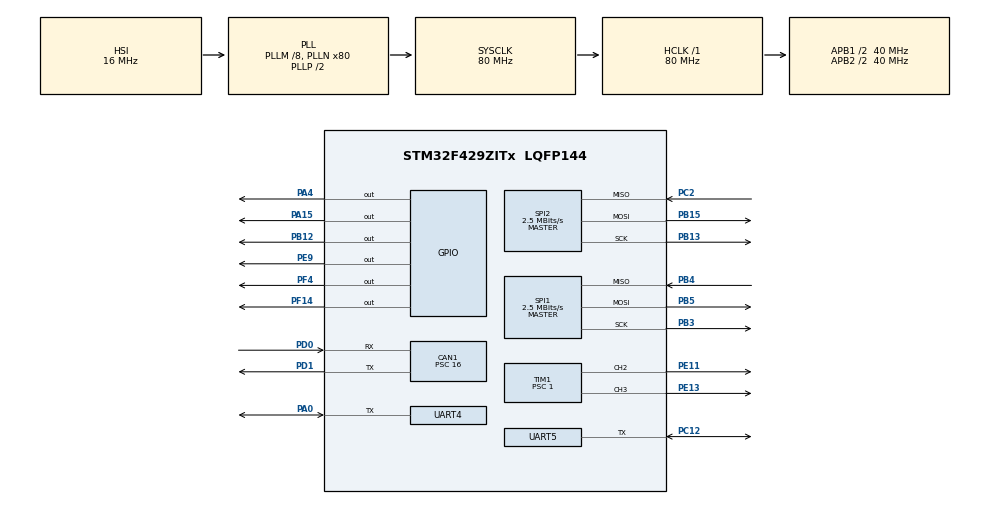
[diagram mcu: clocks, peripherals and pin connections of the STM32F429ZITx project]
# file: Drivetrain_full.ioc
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CAN1.BS1=CAN_BS1_2TQ
CAN1.BS2=CAN_BS2_2TQ
CAN1.CalculateBaudRate=500000
CAN1.CalculateTimeBit=2000.00
CAN1.CalculateTimeQuantum=400.0
CAN1.Prescaler=16
FREERTOS.Tasks01=StartEncoder,32,128,ReadEncoder,Default,NULL,Dynamic,NULL,NULL;StartStepper,24,128,ControlStepper,Default,NULL,Dynamic,NULL,NULL;startThrust,16,128,ControlThrust,Default,NULL,Dynamic,NULL,NULL
FREERTOS.configUSE_NEWLIB_REENTRANT=1
Mcu.Family=STM32F4
Mcu.Name=STM32F429ZITx
Mcu.Package=LQFP144
NVIC.CAN1_RX0_IRQn=true\:5\:0\:false\:false\:true\:true\:true\:true
NVIC.PriorityGroup=NVIC_PRIORITYGROUP_4
NVIC.TIM6_DAC_IRQn=true\:15\:0\:false\:false\:true\:false\:false\:true
NVIC.TimeBase=TIM6_DAC_IRQn
NVIC.TimeBaseIP=TIM6
PA0/WKUP.Mode=Half_duplex(single_wire_mode)
PA0/WKUP.Signal=UART4_TX
PA13.Mode=Serial_Wire
PA13.Signal=SYS_JTMS-SWDIO
PA14.Mode=Serial_Wire
PA14.Signal=SYS_JTCK-SWCLK
PA15.Signal=GPIO_Output
PA4.Signal=GPIO_Output
PB12.Signal=GPIO_Output
PB13.Mode=Full_Duplex_Master
PB13.Signal=SPI2_SCK
PB15.Mode=Full_Duplex_Master
PB15.Signal=SPI2_MOSI
PB3.Mode=Full_Duplex_Master
PB3.Signal=SPI1_SCK
PB4.Mode=Full_Duplex_Master
PB4.Signal=SPI1_MISO
PB5.Mode=Full_Duplex_Master
PB5.Signal=SPI1_MOSI
PC12.Mode=Half_duplex(single_wire_mode)
PC12.Signal=UART5_TX
PC2.Mode=Full_Duplex_Master
PC2.Signal=SPI2_MISO
PD0.Mode=CAN_Activate
PD0.Signal=CAN1_RX
PD1.Mode=CAN_Activate
PD1.Signal=CAN1_TX
PE11.Signal=S_TIM1_CH2
PE13.Signal=S_TIM1_CH3
PE9.Signal=GPIO_Output
PF14.Signal=GPIO_Output
PF4.Signal=GPIO_Output
PH0/OSC_IN.Mode=HSE-External-Oscillator
PH0/OSC_IN.Signal=RCC_OSC_IN
PH1/OSC_OUT.Mode=HSE-External-Oscillator
PH1/OSC_OUT.Signal=RCC_OSC_OUT
ProjectManager.HeapSize=0x200
ProjectManager.StackSize=0x400
ProjectManager.TargetToolchain=STM32CubeIDE
RCC.48MHZClocksFreq_Value=22857142.85714286
RCC.AHBFreq_Value=80000000
RCC.APB1CLKDivider=RCC_HCLK_DIV2
RCC.APB1Freq_Value=40000000
RCC.APB1TimFreq_Value=80000000
RCC.APB2CLKDivider=RCC_HCLK_DIV2
RCC.APB2Freq_Value=40000000
RCC.APB2TimFreq_Value=80000000
RCC.CortexFreq_Value=80000000
RCC.HCLKFreq_Value=80000000
RCC.HSE_VALUE=8000000
RCC.HSI_VALUE=16000000
RCC.LSE_VALUE=32768
RCC.PLLM=8
RCC.PLLMUL=RCC_PLL_MUL9
RCC.PLLN=80
RCC.PLLQ=7
RCC.PRESCALERUSB=RCC_USBCLKSOURCE_PLL_DIV1_5
RCC.SYSCLKFreq_VALUE=80000000
RCC.SYSCLKSource=RCC_SYSCLKSOURCE_PLLCLK
RCC.SYSCLKSourceVirtual=RCC_SYSCLKSOURCE_PLLCLK
RCC.USBFreq_Value=48000000
RCC.VCOOutputFreq_Value=160000000
SH.S_TIM1_CH2.0=TIM1_CH2,PWM Generation2 CH2
SH.S_TIM1_CH3.0=TIM1_CH3,PWM Generation3 CH3
SPI1.BaudRatePrescaler=SPI_BAUDRATEPRESCALER_16
SPI1.CLKPhase=SPI_PHASE_2EDGE
SPI1.CalculateBaudRate=2.5 MBits/s
SPI1.Direction=SPI_DIRECTION_2LINES
SPI1.Mode=SPI_MODE_MASTER
SPI1.VirtualType=VM_MASTER
SPI2.BaudRatePrescaler=SPI_BAUDRATEPRESCALER_16
SPI2.CLKPhase=SPI_PHASE_2EDGE
SPI2.CalculateBaudRate=2.5 MBits/s
SPI2.Direction=SPI_DIRECTION_2LINES
SPI2.Mode=SPI_MODE_MASTER
SPI2.VirtualType=VM_MASTER
TIM1.Channel-PWM\ Generation2\ CH2=TIM_CHANNEL_2
TIM1.Channel-PWM\ Generation3\ CH3=TIM_CHANNEL_3
TIM1.Prescaler=1
UART4.BaudRate=9600
UART4.VirtualMode=Asynchronous
UART5.BaudRate=9600
UART5.VirtualMode=Asynchronous
VP_FREERTOS_VS_CMSIS_V2.Mode=CMSIS_V2
VP_SYS_VS_tim6.Mode=TIM6
VP_TIM1_VS_ClockSourceINT.Mode=Internal
board=NUCLEO-F429ZI

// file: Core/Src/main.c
/* USER CODE BEGIN Header */
/**
  ******************************************************************************
  * @file           : main.c
  * @brief          : Main program body
  ******************************************************************************
  * @attention
  *
  * <h2><center>&copy; Copyright (c) 2021 STMicroelectronics.
  * All rights reserved.</center></h2>
  *
  * This software component is licensed by ST under Ultimate Liberty license
  * SLA0044, the "License"; You may not use this file except in compliance with
  * the License. You may obtain a copy of the License at:
  *                             www.st.com/SLA0044
  *
  ******************************************************************************
  */
/* USER CODE END Header */

//Remote controller
#include "main.h"
#include "cmsis_os.h"

/* USER CODE BEGIN Includes */
#include <stdio.h>
#include <math.h>
#include <stdlib.h>
/* USER CODE END Includes */

CAN_HandleTypeDef hcan1;

SPI_HandleTypeDef hspi1;
SPI_HandleTypeDef hspi2;

TIM_HandleTypeDef htim1;

UART_HandleTypeDef huart4;
UART_HandleTypeDef huart5;

/* Definitions for StartEncoder */
osThreadId_t StartEncoderHandle;
const osThreadAttr_t StartEncoder_attributes = {
  .name = "StartEncoder",
  .stack_size = 128 * 4,
  .priority = (osPriority_t) osPriorityAboveNormal,
};
/* Definitions for StartStepper */
osThreadId_t StartStepperHandle;
const osThreadAttr_t StartStepper_attributes = {
  .name = "StartStepper",
  .stack_size = 128 * 4,
  .priority = (osPriority_t) osPriorityNormal,
};
/* Definitions for startThrust */
osThreadId_t startThrustHandle;
const osThreadAttr_t startThrust_attributes = {
  .name = "startThrust",
  .stack_size = 128 * 4,
  .priority = (osPriority_t) osPriorityBelowNormal,
};

void SystemClock_Config(void);
static void MX_GPIO_Init(void);
static void MX_SPI1_Init(void);
static void MX_TIM1_Init(void);
static void MX_CAN1_Init(void);
static void MX_SPI2_Init(void);
static void MX_UART4_Init(void);
static void MX_UART5_Init(void);
void ReadEncoder(void *argument);
void ControlStepper(void *argument);
void ControlThrust(void *argument);

/* USER CODE BEGIN 0 */
int MANUAL = 0;
int16_t MANUAL_ANGLE_REF = 0;
uint8_t MANUAL_THRUST_REF[1] = {128};

//SPI Transmit and Receive buffers
uint8_t SPI_tx1[2] = {0xFF, 0xFF}; //0xFFFF is a read angle command for the AS5048A magnetic encoder
uint8_t SPI_rx1[2];

uint8_t SPI_tx2[2] = {0xFF, 0xFF}; //0xFFFF is a read angle command for the AS5048A magnetic encoder
uint8_t SPI_rx2[2];

//CAN headers
CAN_TxHeaderTypeDef TxHeader;
CAN_RxHeaderTypeDef RxHeader;

//CAN Transmit and Receive buffers
uint8_t CAN_tx[8];
uint8_t CAN_rx[8];

uint32_t TxMailbox;

//ENCODER 1 VARAIBLES
uint16_t INITIAL_ANGLE_1 = 15092; //15092 raw value
static uint16_t ENCODER_ANGLE_1 = 0;
static float ANGLE_REF_1 = 0;
static int16_t ANGLE_ERROR_1;
float ANGLE_DEGREE_1;

//ENCODER 2 VARIABLES
uint16_t INITIAL_ANGLE_2 = 14706; //14706 raw value
static uint16_t ENCODER_ANGLE_2 = 0;
static float ANGLE_REF_2 = 0;
static int16_t ANGLE_ERROR_2;
float ANGLE_DEGREE_2;

float VOLTAGE_1 = 0;
float VOLTAGE_2 = 0;
float MAX_VOLTAGE = 11.1;

//THRUST UART 1 (left)
static float THRUST_1_REF;
uint8_t  THRUST_1[1] = {128};
//THRUST UART 2 (right)
static float THRUST_2_REF;
uint8_t  THRUST_2[1] = {128};

int8_t THRUST_1_CAN[4] = {0, 0, 0, 0};
int8_t THRUST_2_CAN[4] = {0, 0, 0, 0};
int8_t ANGLE_REF_1_CAN[4] = {0, 0, 0, 0};
int8_t ANGLE_REF_2_CAN[4] = {0, 0, 0, 0};

const float ConvertToDegree = 360.0/16383;

//Used for filtering out bit 14 & 15
uint16_t clearbits = 0x3FFF;

uint16_t PWM_FREQ;
uint16_t PWM_PERIOD = 64000;
uint16_t PWM_DUTY_CYCLE;

int thread1 = 0;
int thread2 = 0;
int thread3 = 0;
int status = 0;

/* USER CODE END 0 */

int main(void)
{

  /* MCU Configuration--------------------------------------------------------*/

  /* Reset of all peripherals, Initializes the Flash interface and the Systick. */
  HAL_Init();

  /* Configure the system clock */
  SystemClock_Config();

  /* Initialize all configured peripherals */
  MX_GPIO_Init();
  MX_SPI1_Init();
  MX_TIM1_Init();
  MX_CAN1_Init();
  MX_SPI2_Init();
  MX_UART4_Init();
  MX_UART5_Init();
  /* USER CODE BEGIN 2 */
  HAL_TIM_PWM_Start(&htim1, TIM_CHANNEL_2);
  HAL_TIM_PWM_Start(&htim1, TIM_CHANNEL_3);

  HAL_CAN_Start(&hcan1);
  HAL_CAN_ActivateNotification(&hcan1, CAN_IT_RX_FIFO0_MSG_PENDING);

  HAL_Delay(10);

  // INITIALIZE PIN STATE AS HIGH FOR ENCODER 1
  HAL_GPIO_WritePin(GPIOA, GPIO_PIN_4, GPIO_PIN_SET);
  HAL_Delay(10);

  // INITIALIZE PIN STATE AS HIGH FOR ENCODER 2
  HAL_GPIO_WritePin(GPIOB, GPIO_PIN_14, GPIO_PIN_SET);
  HAL_Delay(10);

  // READ INITAL ANGLE OFFSET ENCODER 1
 /* HAL_GPIO_WritePin(GPIOA, GPIO_PIN_4, GPIO_PIN_RESET);
  HAL_SPI_Transmit(&hspi1, &SPI_tx1[0], 2, 1);
  HAL_GPIO_WritePin(GPIOA, GPIO_PIN_4, GPIO_PIN_SET);
  HAL_Delay(10);
  HAL_GPIO_WritePin(GPIOA, GPIO_PIN_4, GPIO_PIN_RESET);
  HAL_SPI_Receive(&hspi1, &SPI_rx1[0], 2, 1);
  HAL_GPIO_WritePin(GPIOA, GPIO_PIN_4, GPIO_PIN_SET);
  INITIAL_ANGLE_1 = (SPI_rx1[0] << 8 | SPI_rx1[1])&clearbits;
  HAL_Delay(10);

  // READ INITAL ANGLE OFFSET ENCODER 2
  HAL_GPIO_WritePin(GPIOB, GPIO_PIN_12, GPIO_PIN_RESET);
  HAL_SPI_Transmit(&hspi2, &SPI_tx2[0], 2, 1);
  HAL_GPIO_WritePin(GPIOB, GPIO_PIN_12, GPIO_PIN_SET);
  HAL_Delay(10);
  HAL_GPIO_WritePin(GPIOB, GPIO_PIN_12, GPIO_PIN_RESET);
  HAL_SPI_Receive(&hspi2, &SPI_rx2[0], 2, 1);
  HAL_GPIO_WritePin(GPIOB, GPIO_PIN_12, GPIO_PIN_SET);
  INITIAL_ANGLE_2 = (SPI_rx2[0] << 8 | SPI_rx2[1])&clearbits;
*/
  /* USER CODE END 2 */

  /* Init scheduler */
  osKernelInitialize();

  /* Create the thread(s) */
  /* creation of StartEncoder */
  StartEncoderHandle = osThreadNew(ReadEncoder, NULL, &StartEncoder_attributes);

  /* creation of StartStepper */
  StartStepperHandle = osThreadNew(ControlStepper, NULL, &StartStepper_attributes);

  /* creation of startThrust */
  startThrustHandle = osThreadNew(ControlThrust, NULL, &startThrust_attributes);

  /* Start scheduler */
  osKernelStart();

  /* We should never get here as control is now taken by the scheduler */
  /* Infinite loop */
  while (1)
  {

  }
}

void SystemClock_Config(void)
{
  RCC_OscInitTypeDef RCC_OscInitStruct = {0};
  RCC_ClkInitTypeDef RCC_ClkInitStruct = {0};

  /** Configure the main internal regulator output voltage
  */
  __HAL_RCC_PWR_CLK_ENABLE();
  __HAL_PWR_VOLTAGESCALING_CONFIG(PWR_REGULATOR_VOLTAGE_SCALE3);
  /** Initializes the RCC Oscillators according to the specified parameters
  * in the RCC_OscInitTypeDef structure.
  */
  RCC_OscInitStruct.OscillatorType = RCC_OSCILLATORTYPE_HSI;
  RCC_OscInitStruct.HSIState = RCC_HSI_ON;
  RCC_OscInitStruct.HSICalibrationValue = RCC_HSICALIBRATION_DEFAULT;
  RCC_OscInitStruct.PLL.PLLState = RCC_PLL_ON;
  RCC_OscInitStruct.PLL.PLLSource = RCC_PLLSOURCE_HSI;
  RCC_OscInitStruct.PLL.PLLM = 8;
  RCC_OscInitStruct.PLL.PLLN = 80;
  RCC_OscInitStruct.PLL.PLLP = RCC_PLLP_DIV2;
  RCC_OscInitStruct.PLL.PLLQ = 7;
  if (HAL_RCC_OscConfig(&RCC_OscInitStruct) != HAL_OK)
  {
    Error_Handler();
  }
  /** Initializes the CPU, AHB and APB buses clocks
  */
  RCC_ClkInitStruct.ClockType = RCC_CLOCKTYPE_HCLK|RCC_CLOCKTYPE_SYSCLK
                              |RCC_CLOCKTYPE_PCLK1|RCC_CLOCKTYPE_PCLK2;
  RCC_ClkInitStruct.SYSCLKSource = RCC_SYSCLKSOURCE_PLLCLK;
  RCC_ClkInitStruct.AHBCLKDivider = RCC_SYSCLK_DIV1;
  RCC_ClkInitStruct.APB1CLKDivider = RCC_HCLK_DIV2;
  RCC_ClkInitStruct.APB2CLKDivider = RCC_HCLK_DIV2;

  if (HAL_RCC_ClockConfig(&RCC_ClkInitStruct, FLASH_LATENCY_2) != HAL_OK)
  {
    Error_Handler();
  }
}

static void MX_CAN1_Init(void)
{

  hcan1.Instance = CAN1;
  hcan1.Init.Prescaler = 16;
  hcan1.Init.Mode = CAN_MODE_NORMAL;
  hcan1.Init.SyncJumpWidth = CAN_SJW_1TQ;
  hcan1.Init.TimeSeg1 = CAN_BS1_2TQ;
  hcan1.Init.TimeSeg2 = CAN_BS2_2TQ;
  hcan1.Init.TimeTriggeredMode = DISABLE;
  hcan1.Init.AutoBusOff = DISABLE;
  hcan1.Init.AutoWakeUp = DISABLE;
  hcan1.Init.AutoRetransmission = DISABLE;
  hcan1.Init.ReceiveFifoLocked = DISABLE;
  hcan1.Init.TransmitFifoPriority = DISABLE;
  if (HAL_CAN_Init(&hcan1) != HAL_OK)
  {
    Error_Handler();
  }
  /* USER CODE BEGIN CAN1_Init 2 */
  //CAN FILTER CONFIGURATION
  CAN_FilterTypeDef canfilterconfig;
  canfilterconfig.FilterActivation = CAN_FILTER_ENABLE;
  canfilterconfig.FilterBank = 0;
  canfilterconfig.FilterFIFOAssignment = CAN_FILTER_FIFO0;
  canfilterconfig.FilterIdHigh = 0x5<<5;
  canfilterconfig.FilterIdLow = 0;
  canfilterconfig.FilterMaskIdHigh = 0x0<<5;
  canfilterconfig.FilterMaskIdLow = 0x0000;
  canfilterconfig.FilterMode = CAN_FILTERMODE_IDMASK;
  canfilterconfig.FilterScale = CAN_FILTERSCALE_32BIT;
  canfilterconfig.SlaveStartFilterBank = 20;

  HAL_CAN_ConfigFilter(&hcan1, &canfilterconfig);

  /* USER CODE END CAN1_Init 2 */

}

static void MX_SPI1_Init(void)
{

  /* SPI1 parameter configuration*/
  hspi1.Instance = SPI1;
  hspi1.Init.Mode = SPI_MODE_MASTER;
  hspi1.Init.Direction = SPI_DIRECTION_2LINES;
  hspi1.Init.DataSize = SPI_DATASIZE_8BIT;
  hspi1.Init.CLKPolarity = SPI_POLARITY_LOW;
  hspi1.Init.CLKPhase = SPI_PHASE_2EDGE;
  hspi1.Init.NSS = SPI_NSS_SOFT;
  hspi1.Init.BaudRatePrescaler = SPI_BAUDRATEPRESCALER_16;
  hspi1.Init.FirstBit = SPI_FIRSTBIT_MSB;
  hspi1.Init.TIMode = SPI_TIMODE_DISABLE;
  hspi1.Init.CRCCalculation = SPI_CRCCALCULATION_DISABLE;
  hspi1.Init.CRCPolynomial = 10;
  if (HAL_SPI_Init(&hspi1) != HAL_OK)
  {
    Error_Handler();
  }

}

static void MX_SPI2_Init(void)
{

  /* SPI2 parameter configuration*/
  hspi2.Instance = SPI2;
  hspi2.Init.Mode = SPI_MODE_MASTER;
  hspi2.Init.Direction = SPI_DIRECTION_2LINES;
  hspi2.Init.DataSize = SPI_DATASIZE_8BIT;
  hspi2.Init.CLKPolarity = SPI_POLARITY_LOW;
  hspi2.Init.CLKPhase = SPI_PHASE_2EDGE;
  hspi2.Init.NSS = SPI_NSS_SOFT;
  hspi2.Init.BaudRatePrescaler = SPI_BAUDRATEPRESCALER_16;
  hspi2.Init.FirstBit = SPI_FIRSTBIT_MSB;
  hspi2.Init.TIMode = SPI_TIMODE_DISABLE;
  hspi2.Init.CRCCalculation = SPI_CRCCALCULATION_DISABLE;
  hspi2.Init.CRCPolynomial = 10;
  if (HAL_SPI_Init(&hspi2) != HAL_OK)
  {
    Error_Handler();
  }

}

static void MX_TIM1_Init(void)
{

  TIM_ClockConfigTypeDef sClockSourceConfig = {0};
  TIM_MasterConfigTypeDef sMasterConfig = {0};
  TIM_OC_InitTypeDef sConfigOC = {0};
  TIM_BreakDeadTimeConfigTypeDef sBreakDeadTimeConfig = {0};

  htim1.Instance = TIM1;
  htim1.Init.Prescaler = 1;
  htim1.Init.CounterMode = TIM_COUNTERMODE_UP;
  htim1.Init.Period = 65535;
  htim1.Init.ClockDivision = TIM_CLOCKDIVISION_DIV1;
  htim1.Init.RepetitionCounter = 0;
  htim1.Init.AutoReloadPreload = TIM_AUTORELOAD_PRELOAD_DISABLE;
  if (HAL_TIM_Base_Init(&htim1) != HAL_OK)
  {
    Error_Handler();
  }
  sClockSourceConfig.ClockSource = TIM_CLOCKSOURCE_INTERNAL;
  if (HAL_TIM_ConfigClockSource(&htim1, &sClockSourceConfig) != HAL_OK)
  {
    Error_Handler();
  }
  if (HAL_TIM_PWM_Init(&htim1) != HAL_OK)
  {
    Error_Handler();
  }
  sMasterConfig.MasterOutputTrigger = TIM_TRGO_RESET;
  sMasterConfig.MasterSlaveMode = TIM_MASTERSLAVEMODE_DISABLE;
  if (HAL_TIMEx_MasterConfigSynchronization(&htim1, &sMasterConfig) != HAL_OK)
  {
    Error_Handler();
  }
  sConfigOC.OCMode = TIM_OCMODE_PWM1;
  sConfigOC.Pulse = 0;
  sConfigOC.OCPolarity = TIM_OCPOLARITY_HIGH;
  sConfigOC.OCNPolarity = TIM_OCNPOLARITY_HIGH;
  sConfigOC.OCFastMode = TIM_OCFAST_DISABLE;
  sConfigOC.OCIdleState = TIM_OCIDLESTATE_RESET;
  sConfigOC.OCNIdleState = TIM_OCNIDLESTATE_RESET;
  if (HAL_TIM_PWM_ConfigChannel(&htim1, &sConfigOC, TIM_CHANNEL_2) != HAL_OK)
  {
    Error_Handler();
  }
  if (HAL_TIM_PWM_ConfigChannel(&htim1, &sConfigOC, TIM_CHANNEL_3) != HAL_OK)
  {
    Error_Handler();
  }
  sBreakDeadTimeConfig.OffStateRunMode = TIM_OSSR_DISABLE;
  sBreakDeadTimeConfig.OffStateIDLEMode = TIM_OSSI_DISABLE;
  sBreakDeadTimeConfig.LockLevel = TIM_LOCKLEVEL_OFF;
  sBreakDeadTimeConfig.DeadTime = 0;
  sBreakDeadTimeConfig.BreakState = TIM_BREAK_DISABLE;
  sBreakDeadTimeConfig.BreakPolarity = TIM_BREAKPOLARITY_HIGH;
  sBreakDeadTimeConfig.AutomaticOutput = TIM_AUTOMATICOUTPUT_DISABLE;
  if (HAL_TIMEx_ConfigBreakDeadTime(&htim1, &sBreakDeadTimeConfig) != HAL_OK)
  {
    Error_Handler();
  }
  HAL_TIM_MspPostInit(&htim1);

}

static void MX_UART4_Init(void)
{

  huart4.Instance = UART4;
  huart4.Init.BaudRate = 9600;
  huart4.Init.WordLength = UART_WORDLENGTH_8B;
  huart4.Init.StopBits = UART_STOPBITS_1;
  huart4.Init.Parity = UART_PARITY_NONE;
  huart4.Init.Mode = UART_MODE_TX_RX;
  huart4.Init.HwFlowCtl = UART_HWCONTROL_NONE;
  huart4.Init.OverSampling = UART_OVERSAMPLING_16;
  if (HAL_HalfDuplex_Init(&huart4) != HAL_OK)
  {
    Error_Handler();
  }

}

static void MX_UART5_Init(void)
{

  huart5.Instance = UART5;
  huart5.Init.BaudRate = 9600;
  huart5.Init.WordLength = UART_WORDLENGTH_8B;
  huart5.Init.StopBits = UART_STOPBITS_1;
  huart5.Init.Parity = UART_PARITY_NONE;
  huart5.Init.Mode = UART_MODE_TX_RX;
  huart5.Init.HwFlowCtl = UART_HWCONTROL_NONE;
  huart5.Init.OverSampling = UART_OVERSAMPLING_16;
  if (HAL_HalfDuplex_Init(&huart5) != HAL_OK)
  {
    Error_Handler();
  }

}

static void MX_GPIO_Init(void)
{
  GPIO_InitTypeDef GPIO_InitStruct = {0};

  /* GPIO Ports Clock Enable */
  __HAL_RCC_GPIOF_CLK_ENABLE();
  __HAL_RCC_GPIOH_CLK_ENABLE();
  __HAL_RCC_GPIOC_CLK_ENABLE();
  __HAL_RCC_GPIOA_CLK_ENABLE();
  __HAL_RCC_GPIOE_CLK_ENABLE();
  __HAL_RCC_GPIOB_CLK_ENABLE();
  __HAL_RCC_GPIOD_CLK_ENABLE();

  /*Configure GPIO pin Output Level */
  HAL_GPIO_WritePin(GPIOF, GPIO_PIN_4|GPIO_PIN_14, GPIO_PIN_RESET);

  /*Configure GPIO pin Output Level */
  HAL_GPIO_WritePin(GPIOA, GPIO_PIN_4|GPIO_PIN_15, GPIO_PIN_RESET);

  /*Configure GPIO pin Output Level */
  HAL_GPIO_WritePin(GPIOE, GPIO_PIN_9, GPIO_PIN_RESET);

  /*Configure GPIO pin Output Level */
  HAL_GPIO_WritePin(GPIOB, GPIO_PIN_12, GPIO_PIN_RESET);

  /*Configure GPIO pins : PF4 PF14 */
  GPIO_InitStruct.Pin = GPIO_PIN_4|GPIO_PIN_14;
  GPIO_InitStruct.Mode = GPIO_MODE_OUTPUT_PP;
  GPIO_InitStruct.Pull = GPIO_NOPULL;
  GPIO_InitStruct.Speed = GPIO_SPEED_FREQ_LOW;
  HAL_GPIO_Init(GPIOF, &GPIO_InitStruct);

  /*Configure GPIO pins : PA4 PA15 */
  GPIO_InitStruct.Pin = GPIO_PIN_4|GPIO_PIN_15;
  GPIO_InitStruct.Mode = GPIO_MODE_OUTPUT_PP;
  GPIO_InitStruct.Pull = GPIO_NOPULL;
  GPIO_InitStruct.Speed = GPIO_SPEED_FREQ_LOW;
  HAL_GPIO_Init(GPIOA, &GPIO_InitStruct);

  /*Configure GPIO pin : PE9 */
  GPIO_InitStruct.Pin = GPIO_PIN_9;
  GPIO_InitStruct.Mode = GPIO_MODE_OUTPUT_PP;
  GPIO_InitStruct.Pull = GPIO_NOPULL;
  GPIO_InitStruct.Speed = GPIO_SPEED_FREQ_LOW;
  HAL_GPIO_Init(GPIOE, &GPIO_InitStruct);

  /*Configure GPIO pin : PB12 */
  GPIO_InitStruct.Pin = GPIO_PIN_12;
  GPIO_InitStruct.Mode = GPIO_MODE_OUTPUT_PP;
  GPIO_InitStruct.Pull = GPIO_NOPULL;
  GPIO_InitStruct.Speed = GPIO_SPEED_FREQ_LOW;
  HAL_GPIO_Init(GPIOB, &GPIO_InitStruct);

}

/* USER CODE BEGIN 4 */

/* CAN RX0 CALLBACK FUNCTION */

void HAL_CAN_RxFifo0MsgPendingCallback(CAN_HandleTypeDef *hcan){
	HAL_CAN_GetRxMessage(hcan, CAN_RX_FIFO0, &RxHeader, CAN_rx);
	if(RxHeader.DLC == 8){
		if(RxHeader.StdId == 0x01){
			THRUST_1_CAN[0] = CAN_rx[0];
			THRUST_1_CAN[1] = CAN_rx[1];
			THRUST_1_CAN[2] = CAN_rx[2];
			THRUST_1_CAN[3] = CAN_rx[3];	//need to change the correct bits for each motor thrust

			//combining bytes into float (Left motor thrust)
			THRUST_1_REF = *(float*)&THRUST_1_CAN; // max = 160, min = -40 N

			THRUST_2_CAN[0] = CAN_rx[4];
			THRUST_2_CAN[1] = CAN_rx[5];
			THRUST_2_CAN[2] = CAN_rx[6];
			THRUST_2_CAN[3] = CAN_rx[7];

			//combining bytes into float (Left motor thrust)
			THRUST_2_REF = *(float*)&THRUST_2_CAN; // max = 160, min = -40 N
			thread3=0;

		}
		else if(RxHeader.StdId == 0x02){
			ANGLE_REF_1_CAN[0] = CAN_rx[0];
			ANGLE_REF_1_CAN[1] = CAN_rx[1];
			ANGLE_REF_1_CAN[2] = CAN_rx[2];
			ANGLE_REF_1_CAN[3] = CAN_rx[3];

			ANGLE_REF_1 = (*(float*)&ANGLE_REF_1_CAN)*2; // max = 30, min = -30 degree --> +/- 60 degree (stepper gear ratio)

			ANGLE_REF_2_CAN[0] = CAN_rx[4];
			ANGLE_REF_2_CAN[1] = CAN_rx[5];
			ANGLE_REF_2_CAN[2] = CAN_rx[6];
			ANGLE_REF_2_CAN[3] = CAN_rx[7];

			ANGLE_REF_2 = (*(float*)&ANGLE_REF_2_CAN)*2; // max = 30, min = -30 degree --> +/- 60 degree (stepper gear ratio)

		}
		else{
			printf("Wrong message ID, motor thrust and angle unchanged");
		}

	}
}

/* USER CODE END 4 */

void ReadEncoder(void *argument)
{
  /* USER CODE BEGIN 5 */
  /* Infinite loop */
  for(;;)
  {
	  	  	  	  	  /************************
	  	  	  	  	   * ---- ENCODER 1 ----- *
	  	  	  	  	   ************************/

	// READ ENCODER 1
	HAL_GPIO_WritePin(GPIOA, GPIO_PIN_4, GPIO_PIN_RESET); //PULL CSn LOW
	HAL_SPI_Transmit(&hspi1, &SPI_tx1[0], 2, 1); //TRANSMIT READ COMMAND(0xFFFF)
	HAL_GPIO_WritePin(GPIOA, GPIO_PIN_4, GPIO_PIN_SET); //PULL CSn HIGH
	HAL_Delay(1);
	HAL_GPIO_WritePin(GPIOA, GPIO_PIN_4, GPIO_PIN_RESET); //PULL CSn LOW
	HAL_SPI_Receive(&hspi1, &SPI_rx1[0], 2, 1); //RECEIVE ANGLE READING
	HAL_GPIO_WritePin(GPIOA, GPIO_PIN_4, GPIO_PIN_SET); //PULL CSn HIGH

	//CLEAR NON-DATA BITS ENCODER 1
	ENCODER_ANGLE_1 = (SPI_rx1[0] << 8 | SPI_rx1[1])&clearbits; //FILTER OUT BIT 14&15
	ENCODER_ANGLE_1 = (ENCODER_ANGLE_1 - INITIAL_ANGLE_1)&clearbits; //REMOVE INITIAL ANGLE OFFSET

	//RECOMPUTE ANGLE FROM 14-BIT DATA TO -180 TO 180 DEGREE ANGLE FOR ENCODER 1
	ANGLE_DEGREE_1 = ENCODER_ANGLE_1*ConvertToDegree; //CONVERTS 14-bit number to 360 degree
	if(ANGLE_DEGREE_1 > 180){
			ANGLE_DEGREE_1 = ANGLE_DEGREE_1 - 360;
	}
			//TODO:REMOVE COMMENTS
			ANGLE_ERROR_1 = ANGLE_REF_1 - ANGLE_DEGREE_1; //CALCULATE ANGLE ERROR

		 	 	   	   /************************
		 	 	   	    * ---- ENCODER 2 ----- *
		 	 	   	    ************************/

	//READ ENCODER 2
	HAL_GPIO_WritePin(GPIOB, GPIO_PIN_12, GPIO_PIN_RESET); //PULL CSn LOW
	HAL_SPI_Transmit(&hspi2, &SPI_tx2[0], 2, 1); //TRANSMIT READ COMMAND(0xFF)
	HAL_GPIO_WritePin(GPIOB, GPIO_PIN_12, GPIO_PIN_SET); //PULL CSn HIGH
	HAL_Delay(1);
	HAL_GPIO_WritePin(GPIOB, GPIO_PIN_12, GPIO_PIN_RESET); //PULL CSn LOW
	HAL_SPI_Receive(&hspi2, &SPI_rx2[0], 2, 1); //RECEIVE ANGLE READING
	HAL_GPIO_WritePin(GPIOB, GPIO_PIN_12, GPIO_PIN_SET); //PULL CSn HIGH

	//CLEAR NON-DATA BITS ENCODER 2
	ENCODER_ANGLE_2 = (SPI_rx2[0] << 8 | SPI_rx2[1])&clearbits; //FILTER OUT BIT 14&15
	ENCODER_ANGLE_2 = (ENCODER_ANGLE_2 - INITIAL_ANGLE_2)&clearbits; //REMOVE INITIAL ANGLE OFFSET

	//RECOMPUTE ANGLE FROM 14-BIT DATA TO -180 TO 180 DEGREE ANGLE FOR ENCODER 2
	ANGLE_DEGREE_2 = ENCODER_ANGLE_2*ConvertToDegree; //CONVERTS 14-bit number to 360 degree
	if(ANGLE_DEGREE_2 > 180){
			ANGLE_DEGREE_2 = ANGLE_DEGREE_2 - 360;
	}
			//TODO: REMOVE COMMENTS
			ANGLE_ERROR_2 = ANGLE_REF_2 - ANGLE_DEGREE_2; //CALCULATE ANGLE ERROR

	thread1++;
    osThreadFlagsWait(0x01,osFlagsWaitAny, osWaitForever); // START ControlStepper thread

  }
  /* USER CODE END 5 */
}

void ControlStepper(void *argument)
{
  /* USER CODE BEGIN ControlStepper */
  /* Infinite loop */
  for(;;)
  {
	osDelay(1U);
	if(MANUAL == 1){
		ANGLE_ERROR_1 = MANUAL_ANGLE_REF - ANGLE_DEGREE_1;
		ANGLE_ERROR_2 = MANUAL_ANGLE_REF - ANGLE_DEGREE_2;
	}else{
	  	  	  	  	  /************************
	 	  	  	  	   * ---- STEPPER 1 ----- *
	 	  	  	  	   ************************/
	//saturation of reference angles to their maximum/minimum
	if (ANGLE_REF_1>60){ANGLE_REF_1=60;}
	else if(ANGLE_REF_1<-60){ANGLE_REF_1=-60;}
	if (ANGLE_REF_2>60){ANGLE_REF_2=60;}
	else if(ANGLE_REF_2<-60){ANGLE_REF_2=-60;}
	}
	//CHANGE DIRECTION FOR STEPPER 1 DEPENDING ON ERROR SIGN
	if (ANGLE_ERROR_1 > 0){
		HAL_GPIO_WritePin(GPIOF, GPIO_PIN_14, GPIO_PIN_RESET);
	}
	else{
		HAL_GPIO_WritePin(GPIOF, GPIO_PIN_14, GPIO_PIN_SET);
	}

	ANGLE_ERROR_1 = abs(ANGLE_ERROR_1);
	//UPDATE CCR REGISTER FOR STEPPER 1
	if(ANGLE_ERROR_1 > 0.9){
		TIM1->ARR  = PWM_PERIOD;
		TIM1->CCR3 = PWM_PERIOD/2;
	}
	else{
		TIM1->ARR = PWM_PERIOD;
		TIM1->CCR3 = PWM_PERIOD;

	}
	  	  	  	  	  	  /************************
			  	  	  	   * ---- STEPPER 2 ----- *
			  	  	  	   ************************/

	//CHANGE DIRECTION FOR STEPPER 1 DEPENDING ON ERROR SIGN

	if (ANGLE_ERROR_2 > 0){
		HAL_GPIO_WritePin(GPIOE, GPIO_PIN_9, GPIO_PIN_RESET);
		}
		else{
		HAL_GPIO_WritePin(GPIOE, GPIO_PIN_9, GPIO_PIN_SET);
		}
	//UPDATE CCR REGISTER FOR STEPPER 1
	ANGLE_ERROR_2 = abs(ANGLE_ERROR_2);
	if(ANGLE_ERROR_2 > 0.9){
		TIM1->ARR  = PWM_PERIOD;
		TIM1->CCR2 = PWM_PERIOD/2;
		}
		else{
			TIM1->ARR = PWM_PERIOD;
			TIM1->CCR2 = PWM_PERIOD;
		}

	if( (ANGLE_ERROR_1 <= 2) && (ANGLE_ERROR_2 <= 2) ){
		osThreadFlagsSet(startThrustHandle, 0x03); //FLAG THRUST THREAD
		osThreadFlagsWait(0x02, osFlagsWaitAny, osWaitForever); //START THRUST THREAD
	}

	//START ENCODER THREAD
	thread2++;
	osThreadFlagsSet(StartEncoderHandle, 0x01);

  }
  /* USER CODE END ControlStepper */
}

void ControlThrust(void *argument)
{
  /* USER CODE BEGIN ControlThrust */
HAL_UART_Transmit(&huart4, THRUST_1, sizeof(THRUST_1), 2); //THRUST 1 (left)
HAL_UART_Transmit(&huart5, THRUST_2, sizeof(THRUST_2), 2); //THRUST 2 (right)
  /* Infinite loop */
  for(;;)
  {
	//TIM3 ARR = 65535

	osThreadFlagsWait(0x03,osFlagsWaitAny, osWaitForever); // STOP THREAD

						   /************************
			  	  	  	    * ---- THRUST 1 ----- *
			  	  	  	    ************************/
	if(MANUAL == 1){
		HAL_UART_Transmit(&huart4, MANUAL_THRUST_REF, sizeof(MANUAL_THRUST_REF), 2); //THRUST 1 (left)
		HAL_UART_Transmit(&huart5, MANUAL_THRUST_REF, sizeof(MANUAL_THRUST_REF), 2); //THRUST 2 (right)
	}
	else{

		if(THRUST_1_REF > 0){ //scaling from
			VOLTAGE_1 = (-3.44+sqrt(3.44*3.44+4*1.003*THRUST_1_REF))/(2*1.002);
			THRUST_1[0] = 127*(VOLTAGE_1/MAX_VOLTAGE)+128;
		}
		else if (THRUST_1_REF < 0){
			VOLTAGE_1 = (-0.17+sqrt(0.17*0.17+4*0.302*-1*THRUST_1_REF))/(2*0.302);
			THRUST_1[0] = -127*(VOLTAGE_1/MAX_VOLTAGE) + 128;
		}
		else{
			THRUST_1[0] = 128;
		}
    					   /************************
    			  	  	  	* ---- THRUST 2 ----- *
    			  	  	  	************************/

		if(THRUST_2_REF > 0){ //scaling from
			VOLTAGE_2 = (-3.44+sqrt(3.44*3.44+4*1.003*THRUST_2_REF))/(2*1.002);
			THRUST_2[0] = 127*(VOLTAGE_2/MAX_VOLTAGE)+128;
		}
		else if (THRUST_2_REF < 0){
			VOLTAGE_2 = (-0.17+sqrt(0.17*0.17+4*0.302*-1*THRUST_2_REF))/(2*0.302);
			THRUST_2[0] = -127*(VOLTAGE_2/MAX_VOLTAGE)+128;
		}
		else{
			THRUST_2[0] = 128;
		}

		if (thread3 > 2000){ //IF CAN DOESNT SEND
			THRUST_1[0] = 128;
			THRUST_2[0] = 128;
		}
		HAL_UART_Transmit(&huart4, THRUST_1, sizeof(THRUST_1), 2); //THRUST 1 (left)
		HAL_UART_Transmit(&huart5, THRUST_2, sizeof(THRUST_2), 2); //THRUST 2 (right)
	}

	status++;
	thread3++;
	osDelay(1);
	osThreadFlagsSet(StartStepperHandle, 0x02);

  }
  /* USER CODE END ControlThrust */
}

void HAL_TIM_PeriodElapsedCallback(TIM_HandleTypeDef *htim)
{
  if (htim->Instance == TIM6) {
    HAL_IncTick();
  }
}

void Error_Handler(void)
{
  __disable_irq();
  while (1)
  {
  }
}

/************************ (C) COPYRIGHT STMicroelectronics *****END OF FILE****/
